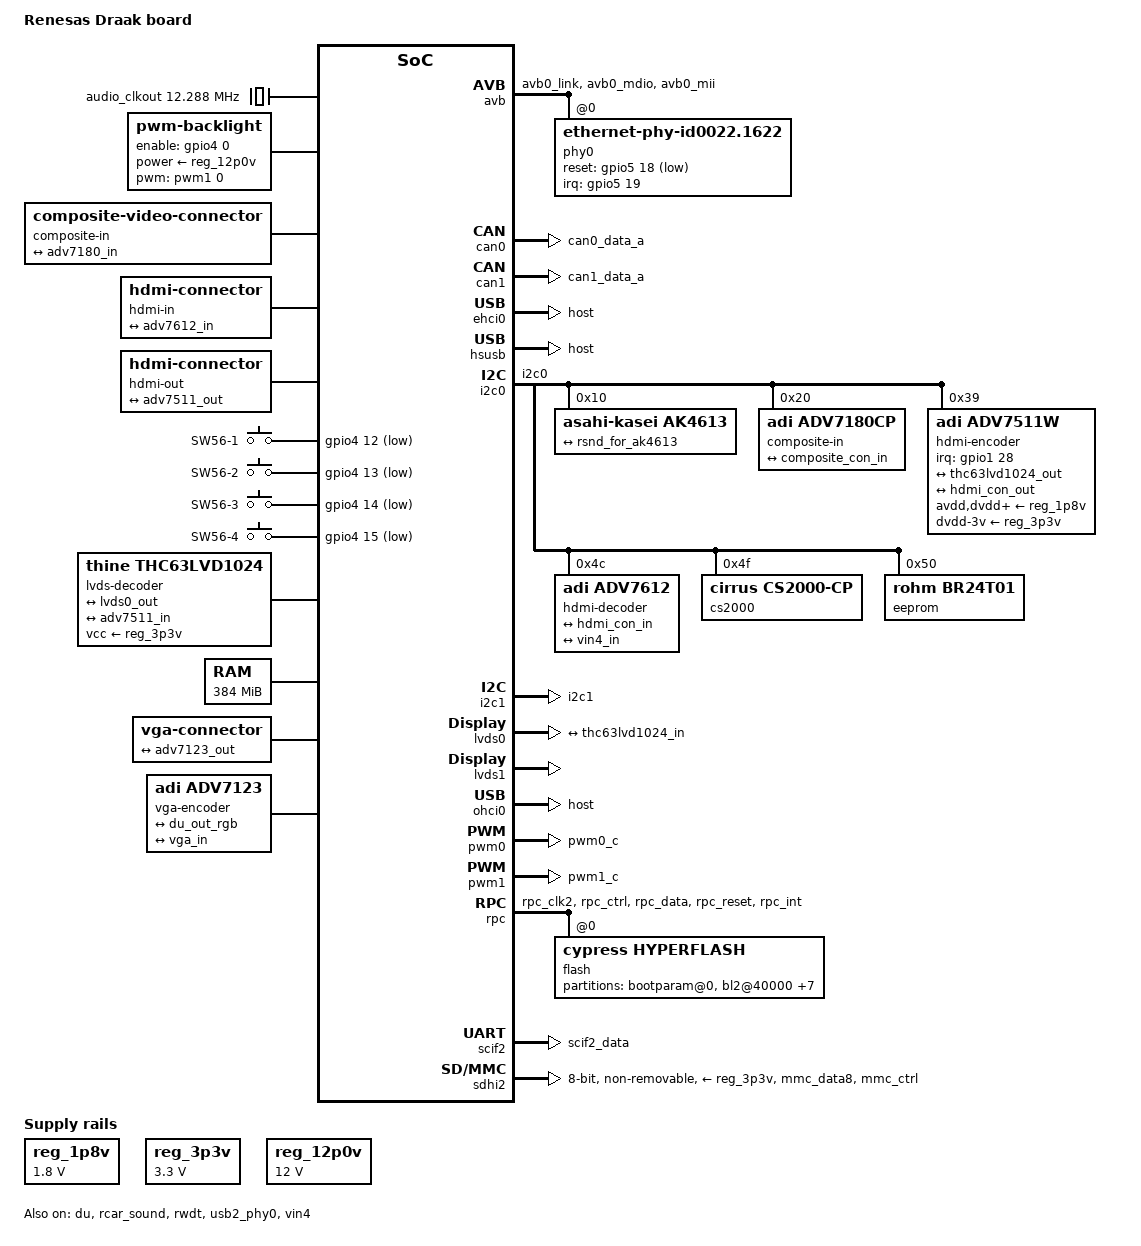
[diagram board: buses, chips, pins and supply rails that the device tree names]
// SPDX-License-Identifier: GPL-2.0
/*
 * Device Tree Source for the Draak board
 *
 * Copyright (C) 2016-2018 Renesas Electronics Corp.
 * Copyright (C) 2017 Glider bvba
 */

#include <dt-bindings/gpio/gpio.h>
#include <dt-bindings/input/input.h>

/ {
	model = "Renesas Draak board";
	compatible = "renesas,draak";

	aliases {
		serial0 = &scif2;
		ethernet0 = &avb;
	};

	audio_clkout: audio-clkout {
		/*
		 * This is same as <&rcar_sound 0>
		 * but needed to avoid cs2000/rcar_sound probe dead-lock
		 */
		compatible = "fixed-clock";
		#clock-cells = <0>;
		clock-frequency = <12288000>;
	};

	backlight: backlight {
		compatible = "pwm-backlight";
		pwms = <&pwm1 0 50000>;

		brightness-levels = <512 511 505 494 473 440 392 327 241 133 0>;
		default-brightness-level = <10>;

		power-supply = <&reg_12p0v>;
		enable-gpios = <&gpio4 0 GPIO_ACTIVE_HIGH>;
	};

	chosen {
		bootargs = "ignore_loglevel rw root=/dev/nfs ip=on";
		stdout-path = "serial0:115200n8";
	};

	composite-in {
		compatible = "composite-video-connector";

		port {
			composite_con_in: endpoint {
				remote-endpoint = <&adv7180_in>;
			};
		};
	};

	hdmi-in {
		compatible = "hdmi-connector";
		type = "a";

		port {
			hdmi_con_in: endpoint {
				remote-endpoint = <&adv7612_in>;
			};
		};
	};

	hdmi-out {
		compatible = "hdmi-connector";
		type = "a";

		port {
			hdmi_con_out: endpoint {
				remote-endpoint = <&adv7511_out>;
			};
		};
	};

	keys {
		compatible = "gpio-keys";

		pinctrl-0 = <&keys_pins>;
		pinctrl-names = "default";

		key-1 {
			gpios = <&gpio4 12 GPIO_ACTIVE_LOW>;
			linux,code = <KEY_1>;
			label = "SW56-1";
			wakeup-source;
			debounce-interval = <20>;
		};
		key-2 {
			gpios = <&gpio4 13 GPIO_ACTIVE_LOW>;
			linux,code = <KEY_2>;
			label = "SW56-2";
			wakeup-source;
			debounce-interval = <20>;
		};
		key-3 {
			gpios = <&gpio4 14 GPIO_ACTIVE_LOW>;
			linux,code = <KEY_3>;
			label = "SW56-3";
			wakeup-source;
			debounce-interval = <20>;
		};
		key-4 {
			gpios = <&gpio4 15 GPIO_ACTIVE_LOW>;
			linux,code = <KEY_4>;
			label = "SW56-4";
			wakeup-source;
			debounce-interval = <20>;
		};
	};

	lvds-decoder {
		compatible = "thine,thc63lvd1024";
		vcc-supply = <&reg_3p3v>;

		ports {
			#address-cells = <1>;
			#size-cells = <0>;

			port@0 {
				reg = <0>;
				thc63lvd1024_in: endpoint {
					remote-endpoint = <&lvds0_out>;
				};
			};

			port@2 {
				reg = <2>;
				thc63lvd1024_out: endpoint {
					remote-endpoint = <&adv7511_in>;
				};
			};
		};
	};

	memory@48000000 {
		device_type = "memory";
		/* first 128MB is reserved for secure area. */
		reg = <0x0 0x48000000 0x0 0x18000000>;
	};

	reg_1p8v: regulator-1p8v {
		compatible = "regulator-fixed";
		regulator-name = "fixed-1.8V";
		regulator-min-microvolt = <1800000>;
		regulator-max-microvolt = <1800000>;
		regulator-boot-on;
		regulator-always-on;
	};

	reg_3p3v: regulator-3p3v {
		compatible = "regulator-fixed";
		regulator-name = "fixed-3.3V";
		regulator-min-microvolt = <3300000>;
		regulator-max-microvolt = <3300000>;
		regulator-boot-on;
		regulator-always-on;
	};

	reg_12p0v: regulator-12p0v {
		compatible = "regulator-fixed";
		regulator-name = "D12.0V";
		regulator-min-microvolt = <12000000>;
		regulator-max-microvolt = <12000000>;
		regulator-boot-on;
		regulator-always-on;
	};

	sound_card: sound {
		compatible = "audio-graph-card";

		dais = <&rsnd_port0	/* ak4613 */
			/* HDMI is not yet supported */
		>;
	};

	vga {
		compatible = "vga-connector";

		port {
			vga_in: endpoint {
				remote-endpoint = <&adv7123_out>;
			};
		};
	};

	vga-encoder {
		compatible = "adi,adv7123";

		ports {
			#address-cells = <1>;
			#size-cells = <0>;

			port@0 {
				reg = <0>;
				adv7123_in: endpoint {
					remote-endpoint = <&du_out_rgb>;
				};
			};
			port@1 {
				reg = <1>;
				adv7123_out: endpoint {
					remote-endpoint = <&vga_in>;
				};
			};
		};
	};

	x12_clk: x12 {
		compatible = "fixed-clock";
		#clock-cells = <0>;
		clock-frequency = <74250000>;
	};

	x19_clk: x19 {
		compatible = "fixed-clock";
		#clock-cells = <0>;
		clock-frequency = <24576000>;
	};
};

&audio_clk_b {
	/*
	 * X11 is connected to VI4_FIELD/SCIF_CLK/AUDIO_CLKB,
	 * and R-Car Sound uses AUDIO_CLKB.
	 * Note is that schematic indicates VI4_FIELD conection only
	 * not AUDIO_CLKB at SoC page.
	 * And this VI4_FIELD/SCIF_CLK/AUDIO_CLKB is connected to SW60.
	 * SW60 should be 1-2.
	 */

	clock-frequency = <22579200>;
};

&avb {
	pinctrl-0 = <&avb0_pins>;
	pinctrl-names = "default";
	renesas,no-ether-link;
	phy-handle = <&phy0>;
	status = "okay";

	phy0: ethernet-phy@0 {
		compatible = "ethernet-phy-id0022.1622",
			     "ethernet-phy-ieee802.3-c22";
		rxc-skew-ps = <1500>;
		reg = <0>;
		interrupts-extended = <&gpio5 19 IRQ_TYPE_LEVEL_LOW>;
		reset-gpios = <&gpio5 18 GPIO_ACTIVE_LOW>;
		/*
		 * TX clock internal delay mode is required for reliable
		 * 1Gbps communication using the KSZ9031RNX phy present on
		 * the Draak board, however, TX clock internal delay mode
		 * isn't supported on R-Car D3(e).  Thus, limit speed to
		 * 100Mbps for reliable communication.
		 */
		max-speed = <100>;
	};
};

&can0 {
	pinctrl-0 = <&can0_pins>;
	pinctrl-names = "default";
	status = "okay";
};

&can1 {
	pinctrl-0 = <&can1_pins>;
	pinctrl-names = "default";
	status = "okay";
};

&du {
	pinctrl-0 = <&du_pins>;
	pinctrl-names = "default";
	status = "okay";

	clocks = <&cpg CPG_MOD 724>,
		 <&cpg CPG_MOD 723>,
		 <&x12_clk>;
	clock-names = "du.0", "du.1", "dclkin.0";

	ports {
		port@0 {
			du_out_rgb: endpoint {
				remote-endpoint = <&adv7123_in>;
			};
		};
	};
};

&ehci0 {
	dr_mode = "host";
	status = "okay";
};

&extal_clk {
	clock-frequency = <48000000>;
};

&hsusb {
	dr_mode = "host";
	status = "okay";
};

&i2c0 {
	pinctrl-0 = <&i2c0_pins>;
	pinctrl-names = "default";
	bootph-all;
	status = "okay";

	ak4613: codec@10 {
		compatible = "asahi-kasei,ak4613";
		#sound-dai-cells = <0>;
		reg = <0x10>;
		clocks = <&rcar_sound 0>; /* audio_clkout */

		asahi-kasei,in1-single-end;
		asahi-kasei,in2-single-end;
		asahi-kasei,out1-single-end;
		asahi-kasei,out2-single-end;
		asahi-kasei,out3-single-end;
		asahi-kasei,out4-single-end;
		asahi-kasei,out5-single-end;
		asahi-kasei,out6-single-end;

		port {
			ak4613_endpoint: endpoint {
				remote-endpoint = <&rsnd_for_ak4613>;
			};
		};
	};

	composite-in@20 {
		compatible = "adi,adv7180cp";
		reg = <0x20>;

		ports {
			#address-cells = <1>;
			#size-cells = <0>;

			port@0 {
				reg = <0>;
				adv7180_in: endpoint {
					remote-endpoint = <&composite_con_in>;
				};
			};

			port@3 {
				reg = <3>;

				/*
				 * The VIN4 video input path is shared between
				 * CVBS and HDMI inputs through SW[49-53]
				 * switches.
				 *
				 * HDMI is the default selection, leave CVBS
				 * not connected here.
				 */
			};
		};

	};

	hdmi-encoder@39 {
		compatible = "adi,adv7511w";
		reg = <0x39>, <0x3f>, <0x3c>, <0x38>;
		reg-names = "main", "edid", "cec", "packet";
		interrupts-extended = <&gpio1 28 IRQ_TYPE_LEVEL_LOW>;

		avdd-supply = <&reg_1p8v>;
		dvdd-supply = <&reg_1p8v>;
		pvdd-supply = <&reg_1p8v>;
		dvdd-3v-supply = <&reg_3p3v>;
		bgvdd-supply = <&reg_1p8v>;

		adi,input-depth = <8>;
		adi,input-colorspace = "rgb";
		adi,input-clock = "1x";

		ports {
			#address-cells = <1>;
			#size-cells = <0>;

			port@0 {
				reg = <0>;
				adv7511_in: endpoint {
					remote-endpoint = <&thc63lvd1024_out>;
				};
			};

			port@1 {
				reg = <1>;
				adv7511_out: endpoint {
					remote-endpoint = <&hdmi_con_out>;
				};
			};
		};
	};

	hdmi-decoder@4c {
		compatible = "adi,adv7612";
		reg = <0x4c>;
		default-input = <0>;

		ports {
			#address-cells = <1>;
			#size-cells = <0>;

			port@0 {
				reg = <0>;

				adv7612_in: endpoint {
					remote-endpoint = <&hdmi_con_in>;
				};
			};

			port@2 {
				reg = <2>;

				/*
				 * The VIN4 video input path is shared between
				 * CVBS and HDMI inputs through SW[49-53]
				 * switches.
				 *
				 * HDMI is the default selection, link it to
				 * VIN4 here.
				 */
				adv7612_out: endpoint {
					remote-endpoint = <&vin4_in>;
				};
			};
		};
	};

	cs2000: clk-multiplier@4f {
		#clock-cells = <0>;
		compatible = "cirrus,cs2000-cp";
		reg = <0x4f>;
		clocks = <&audio_clkout>, <&x19_clk>; /* audio_clkout_1, x19 */
		clock-names = "clk_in", "ref_clk";

		assigned-clocks = <&cs2000>;
		assigned-clock-rates = <24576000>; /* 1/1 divide */
	};

	eeprom@50 {
		compatible = "rohm,br24t01", "atmel,24c01";
		reg = <0x50>;
		pagesize = <8>;
		bootph-all;
	};
};

&i2c1 {
	pinctrl-0 = <&i2c1_pins>;
	pinctrl-names = "default";
	status = "okay";
};

&lvds0 {
	status = "okay";

	clocks = <&cpg CPG_MOD 727>,
		 <&x12_clk>,
		 <&extal_clk>;
	clock-names = "fck", "dclkin.0", "extal";

	ports {
		port@1 {
			lvds0_out: endpoint {
				remote-endpoint = <&thc63lvd1024_in>;
			};
		};
	};
};

&lvds1 {
	/*
	 * Even though the LVDS1 output is not connected, the encoder must be
	 * enabled to supply a pixel clock to the DU for the DPAD output when
	 * LVDS0 is in use.
	 */
	status = "okay";

	clocks = <&cpg CPG_MOD 727>,
		 <&x12_clk>,
		 <&extal_clk>;
	clock-names = "fck", "dclkin.0", "extal";
};

&ohci0 {
	dr_mode = "host";
	status = "okay";
};

&pfc {
	avb0_pins: avb {
		groups = "avb0_link", "avb0_mdio", "avb0_mii";
		function = "avb0";
	};

	can0_pins: can0 {
		groups = "can0_data_a";
		function = "can0";
	};

	can1_pins: can1 {
		groups = "can1_data_a";
		function = "can1";
	};

	du_pins: du {
		groups = "du_rgb888", "du_sync", "du_disp", "du_clk_out_0";
		function = "du";
	};

	i2c0_pins: i2c0 {
		groups = "i2c0";
		function = "i2c0";
	};

	i2c1_pins: i2c1 {
		groups = "i2c1";
		function = "i2c1";
	};

	keys_pins: keys {
		pins = "GP_4_12", "GP_4_13", "GP_4_14", "GP_4_15";
		bias-pull-up;
	};

	pwm0_pins: pwm0 {
		groups = "pwm0_c";
		function = "pwm0";
	};

	pwm1_pins: pwm1 {
		groups = "pwm1_c";
		function = "pwm1";
	};

	rpc_pins: rpc {
		groups = "rpc_clk2", "rpc_ctrl", "rpc_data", "rpc_reset",
			 "rpc_int";
		function = "rpc";
	};

	scif2_pins: scif2 {
		groups = "scif2_data";
		function = "scif2";
	};

	sdhi2_pins: sd2 {
		groups = "mmc_data8", "mmc_ctrl";
		function = "mmc";
		power-source = <1800>;
	};

	sdhi2_pins_uhs: sd2_uhs {
		groups = "mmc_data8", "mmc_ctrl";
		function = "mmc";
		power-source = <1800>;
	};

	sound_pins: sound {
		groups = "ssi34_ctrl", "ssi3_data", "ssi4_data_a";
		function = "ssi";
	};

	sound_clk_pins: sound-clk {
		groups = "audio_clk_a", "audio_clk_b",
			 "audio_clkout", "audio_clkout1";
		function = "audio_clk";
	};

	usb0_pins: usb0 {
		groups = "usb0";
		function = "usb0";
	};

	vin4_pins: vin4 {
		groups = "vin4_data24", "vin4_sync", "vin4_clk";
		function = "vin4";
	};
};

&pwm0 {
	pinctrl-0 = <&pwm0_pins>;
	pinctrl-names = "default";

	status = "okay";
};

&pwm1 {
	pinctrl-0 = <&pwm1_pins>;
	pinctrl-names = "default";

	status = "okay";
};

&rcar_sound {
	pinctrl-0 = <&sound_pins>, <&sound_clk_pins>;
	pinctrl-names = "default";

	/* Single DAI */
	#sound-dai-cells = <0>;

	/* audio_clkout0/1 */
	#clock-cells = <1>;
	clock-frequency = <12288000 11289600>;

	status = "okay";

	clocks = <&cpg CPG_MOD 1005>,
		 <&cpg CPG_MOD 1011>, <&cpg CPG_MOD 1012>,
		 <&cpg CPG_MOD 1025>, <&cpg CPG_MOD 1026>,
		 <&cpg CPG_MOD 1020>, <&cpg CPG_MOD 1021>,
		 <&cpg CPG_MOD 1020>, <&cpg CPG_MOD 1021>,
		 <&cpg CPG_MOD 1019>, <&cpg CPG_MOD 1018>,
		 <&cs2000>, <&audio_clk_b>,
		 <&cpg CPG_CORE R8A77995_CLK_ZA2>;

	ports {
		rsnd_port0: port {
			rsnd_for_ak4613: endpoint {
				remote-endpoint = <&ak4613_endpoint>;
				dai-format = "left_j";
				bitclock-master = <&rsnd_for_ak4613>;
				frame-master = <&rsnd_for_ak4613>;
				playback = <&ssi3>, <&src5>, <&dvc0>;
				capture = <&ssi4>, <&src6>, <&dvc1>;
			};
		};
	};
};

&rpc {
	pinctrl-0 = <&rpc_pins>;
	pinctrl-names = "default";

	/* Left disabled.  To be enabled by firmware when unlocked. */

	flash@0 {
		compatible = "cypress,hyperflash", "cfi-flash";
		reg = <0>;

		partitions {
			compatible = "fixed-partitions";
			#address-cells = <1>;
			#size-cells = <1>;

			bootparam@0 {
				reg = <0x00000000 0x040000>;
				read-only;
			};
			bl2@40000 {
				reg = <0x00040000 0x140000>;
				read-only;
			};
			cert_header_sa6@180000 {
				reg = <0x00180000 0x040000>;
				read-only;
			};
			bl31@1c0000 {
				reg = <0x001c0000 0x040000>;
				read-only;
			};
			tee@200000 {
				reg = <0x00200000 0x440000>;
				read-only;
			};
			uboot@640000 {
				reg = <0x00640000 0x100000>;
				read-only;
			};
			dtb@740000 {
				reg = <0x00740000 0x080000>;
			};
			kernel@7c0000 {
				reg = <0x007c0000 0x1400000>;
			};
			user@1bc0000 {
				reg = <0x01bc0000 0x2440000>;
			};
		};
	};
};

&rwdt {
	timeout-sec = <60>;
	status = "okay";
};

&scif2 {
	pinctrl-0 = <&scif2_pins>;
	pinctrl-names = "default";
	bootph-all;

	status = "okay";
};

&sdhi2 {
	/* used for on-board eMMC */
	pinctrl-0 = <&sdhi2_pins>;
	pinctrl-1 = <&sdhi2_pins_uhs>;
	pinctrl-names = "default", "state_uhs";

	vmmc-supply = <&reg_3p3v>;
	vqmmc-supply = <&reg_1p8v>;
	bus-width = <8>;
	mmc-hs200-1_8v;
	no-sd;
	no-sdio;
	non-removable;
	status = "okay";
};

&ssi4 {
	shared-pin;
};

&usb2_phy0 {
	pinctrl-0 = <&usb0_pins>;
	pinctrl-names = "default";

	renesas,no-otg-pins;
	status = "okay";
};

&vin4 {
	pinctrl-0 = <&vin4_pins>;
	pinctrl-names = "default";

	status = "okay";

	ports {
		port {
			vin4_in: endpoint {
				pclk-sample = <0>;
				hsync-active = <0>;
				vsync-active = <0>;
				remote-endpoint = <&adv7612_out>;
			};
		};
	};
};
